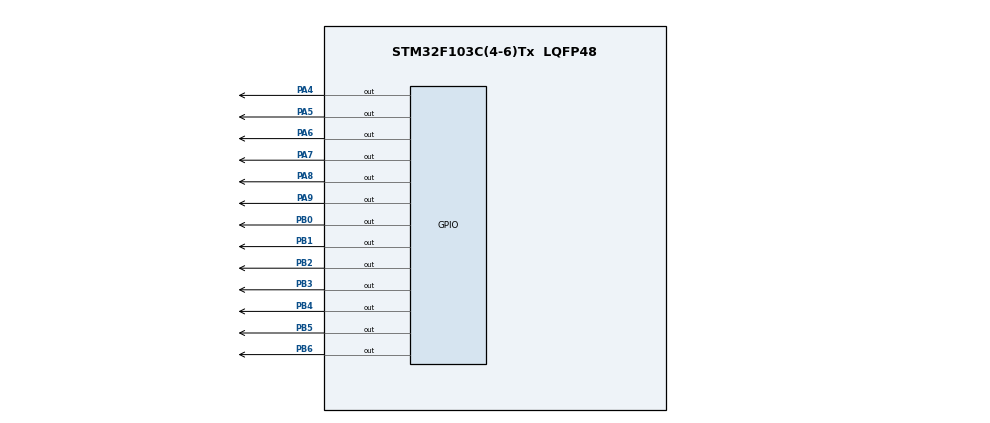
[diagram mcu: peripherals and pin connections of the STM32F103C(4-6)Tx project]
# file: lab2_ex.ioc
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Mcu.Family=STM32F1
Mcu.Name=STM32F103C(4-6)Tx
Mcu.Package=LQFP48
NVIC.PriorityGroup=NVIC_PRIORITYGROUP_4
NVIC.TIM2_IRQn=true\:0\:0\:false\:false\:true\:true\:true
PA4.Signal=GPIO_Output
PA5.Signal=GPIO_Output
PA6.Signal=GPIO_Output
PA7.Signal=GPIO_Output
PA8.Signal=GPIO_Output
PA9.Signal=GPIO_Output
PB0.Signal=GPIO_Output
PB1.Signal=GPIO_Output
PB2.Signal=GPIO_Output
PB3.Signal=GPIO_Output
PB4.Signal=GPIO_Output
PB5.Signal=GPIO_Output
PB6.Signal=GPIO_Output
ProjectManager.HeapSize=0x200
ProjectManager.StackSize=0x400
ProjectManager.TargetToolchain=STM32CubeIDE
RCC.APB1Freq_Value=8000000
RCC.APB2Freq_Value=8000000
TIM2.Period=9
TIM2.Prescaler=7999
VP_SYS_VS_ND.Mode=No_Debug
VP_TIM2_VS_ClockSourceINT.Mode=Internal
board=custom

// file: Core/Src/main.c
/* USER CODE BEGIN Header */
/**
  ******************************************************************************
  * @file           : main.c
  * @brief          : Main program body
  ******************************************************************************
  * @attention
  *
  * <h2><center>&copy; Copyright (c) 2025 STMicroelectronics.
  * All rights reserved.</center></h2>
  *
  * This software component is licensed by ST under BSD 3-Clause license,
  * the "License"; You may not use this file except in compliance with the
  * License. You may obtain a copy of the License at:
  *                        opensource.org/licenses/BSD-3-Clause
  *
  ******************************************************************************
  */
/* USER CODE END Header */
#include "main.h"

TIM_HandleTypeDef htim2;

void SystemClock_Config(void);
static void MX_GPIO_Init(void);
static void MX_TIM2_Init(void);

const int MAX_LED = 4;
int index_led = 0;
int led_buffer[4] = {1, 2, 3, 4};

void display7SEG(int num) {
    uint8_t segmentMap[] = {0xC0, 0xF9, 0xA4, 0xB0, 0x99, 0x92, 0x82, 0xF8, 0x80, 0x90};
    HAL_GPIO_WritePin(GPIOB, 0x7F, GPIO_PIN_SET);
    for (int i = 0; i < 7; i++) {
        if ((segmentMap[num] >> i) & 1) {
            HAL_GPIO_WritePin(GPIOB, 1 << i, GPIO_PIN_SET);
        } else {
            HAL_GPIO_WritePin(GPIOB, 1 << i, GPIO_PIN_RESET);
        }
    }
}
int main(void)
{

  /* MCU Configuration--------------------------------------------------------*/

  /* Reset of all peripherals, Initializes the Flash interface and the Systick. */
  HAL_Init();

  /* Configure the system clock */
  SystemClock_Config();

  /* Initialize all configured peripherals */
  MX_GPIO_Init();
  MX_TIM2_Init();
  /* USER CODE BEGIN 2 */
  HAL_TIM_Base_Start_IT(&htim2);
  /* USER CODE END 2 */

  /* Infinite loop */
  while (1)
  {

  }
}

void SystemClock_Config(void)
{
  RCC_OscInitTypeDef RCC_OscInitStruct = {0};
  RCC_ClkInitTypeDef RCC_ClkInitStruct = {0};

  /** Initializes the RCC Oscillators according to the specified parameters
  * in the RCC_OscInitTypeDef structure.
  */
  RCC_OscInitStruct.OscillatorType = RCC_OSCILLATORTYPE_HSI;
  RCC_OscInitStruct.HSIState = RCC_HSI_ON;
  RCC_OscInitStruct.HSICalibrationValue = RCC_HSICALIBRATION_DEFAULT;
  RCC_OscInitStruct.PLL.PLLState = RCC_PLL_NONE;
  if (HAL_RCC_OscConfig(&RCC_OscInitStruct) != HAL_OK)
  {
    Error_Handler();
  }
  /** Initializes the CPU, AHB and APB buses clocks
  */
  RCC_ClkInitStruct.ClockType = RCC_CLOCKTYPE_HCLK|RCC_CLOCKTYPE_SYSCLK
                              |RCC_CLOCKTYPE_PCLK1|RCC_CLOCKTYPE_PCLK2;
  RCC_ClkInitStruct.SYSCLKSource = RCC_SYSCLKSOURCE_HSI;
  RCC_ClkInitStruct.AHBCLKDivider = RCC_SYSCLK_DIV1;
  RCC_ClkInitStruct.APB1CLKDivider = RCC_HCLK_DIV1;
  RCC_ClkInitStruct.APB2CLKDivider = RCC_HCLK_DIV1;

  if (HAL_RCC_ClockConfig(&RCC_ClkInitStruct, FLASH_LATENCY_0) != HAL_OK)
  {
    Error_Handler();
  }
}

static void MX_TIM2_Init(void)
{

  TIM_ClockConfigTypeDef sClockSourceConfig = {0};
  TIM_MasterConfigTypeDef sMasterConfig = {0};

  htim2.Instance = TIM2;
  htim2.Init.Prescaler = 7999;
  htim2.Init.CounterMode = TIM_COUNTERMODE_UP;
  htim2.Init.Period = 9;
  htim2.Init.ClockDivision = TIM_CLOCKDIVISION_DIV1;
  htim2.Init.AutoReloadPreload = TIM_AUTORELOAD_PRELOAD_DISABLE;
  if (HAL_TIM_Base_Init(&htim2) != HAL_OK)
  {
    Error_Handler();
  }
  sClockSourceConfig.ClockSource = TIM_CLOCKSOURCE_INTERNAL;
  if (HAL_TIM_ConfigClockSource(&htim2, &sClockSourceConfig) != HAL_OK)
  {
    Error_Handler();
  }
  sMasterConfig.MasterOutputTrigger = TIM_TRGO_RESET;
  sMasterConfig.MasterSlaveMode = TIM_MASTERSLAVEMODE_DISABLE;
  if (HAL_TIMEx_MasterConfigSynchronization(&htim2, &sMasterConfig) != HAL_OK)
  {
    Error_Handler();
  }

}

static void MX_GPIO_Init(void)
{
  GPIO_InitTypeDef GPIO_InitStruct = {0};

  /* GPIO Ports Clock Enable */
  __HAL_RCC_GPIOA_CLK_ENABLE();
  __HAL_RCC_GPIOB_CLK_ENABLE();

  /*Configure GPIO pin Output Level */
  HAL_GPIO_WritePin(GPIOA, GPIO_PIN_5|GPIO_PIN_6|GPIO_PIN_7, GPIO_PIN_RESET);

  /*Configure GPIO pin Output Level */
  HAL_GPIO_WritePin(GPIOB, GPIO_PIN_0|GPIO_PIN_1|GPIO_PIN_2|GPIO_PIN_3
                          |GPIO_PIN_4|GPIO_PIN_5|GPIO_PIN_6, GPIO_PIN_RESET);

  /*Configure GPIO pins : PA5 PA6 PA7 */
  GPIO_InitStruct.Pin = GPIO_PIN_5|GPIO_PIN_6|GPIO_PIN_7;
  GPIO_InitStruct.Mode = GPIO_MODE_OUTPUT_PP;
  GPIO_InitStruct.Pull = GPIO_NOPULL;
  GPIO_InitStruct.Speed = GPIO_SPEED_FREQ_LOW;
  HAL_GPIO_Init(GPIOA, &GPIO_InitStruct);

  /*Configure GPIO pins : PB0 PB1 PB2 PB3
                           PB4 PB5 PB6 */
  GPIO_InitStruct.Pin = GPIO_PIN_0|GPIO_PIN_1|GPIO_PIN_2|GPIO_PIN_3
                          |GPIO_PIN_4|GPIO_PIN_5|GPIO_PIN_6;
  GPIO_InitStruct.Mode = GPIO_MODE_OUTPUT_PP;
  GPIO_InitStruct.Pull = GPIO_NOPULL;
  GPIO_InitStruct.Speed = GPIO_SPEED_FREQ_LOW;
  HAL_GPIO_Init(GPIOB, &GPIO_InitStruct);

}

/* USER CODE BEGIN 4 */
void HAL_TIM_PeriodElapsedCallback(TIM_HandleTypeDef *htim) {
    static int counter = 50;
    static int status = 0;

    counter--;
    if (counter <= 0) {
        counter = 50;
        if (status == 0) {
            HAL_GPIO_WritePin(GPIOA, GPIO_PIN_6, GPIO_PIN_RESET);
            HAL_GPIO_WritePin(GPIOA, GPIO_PIN_7, GPIO_PIN_SET);
            display7SEG(1);
            status = 1;
        } else {
            HAL_GPIO_WritePin(GPIOA, GPIO_PIN_6, GPIO_PIN_SET);
            HAL_GPIO_WritePin(GPIOA, GPIO_PIN_7, GPIO_PIN_RESET);
            display7SEG(2);
            status = 0;
        }
    }
}

/* USER CODE END 4 */

void Error_Handler(void)
{
  __disable_irq();
  while (1)
  {
  }
}

/************************ (C) COPYRIGHT STMicroelectronics *****END OF FILE****/
